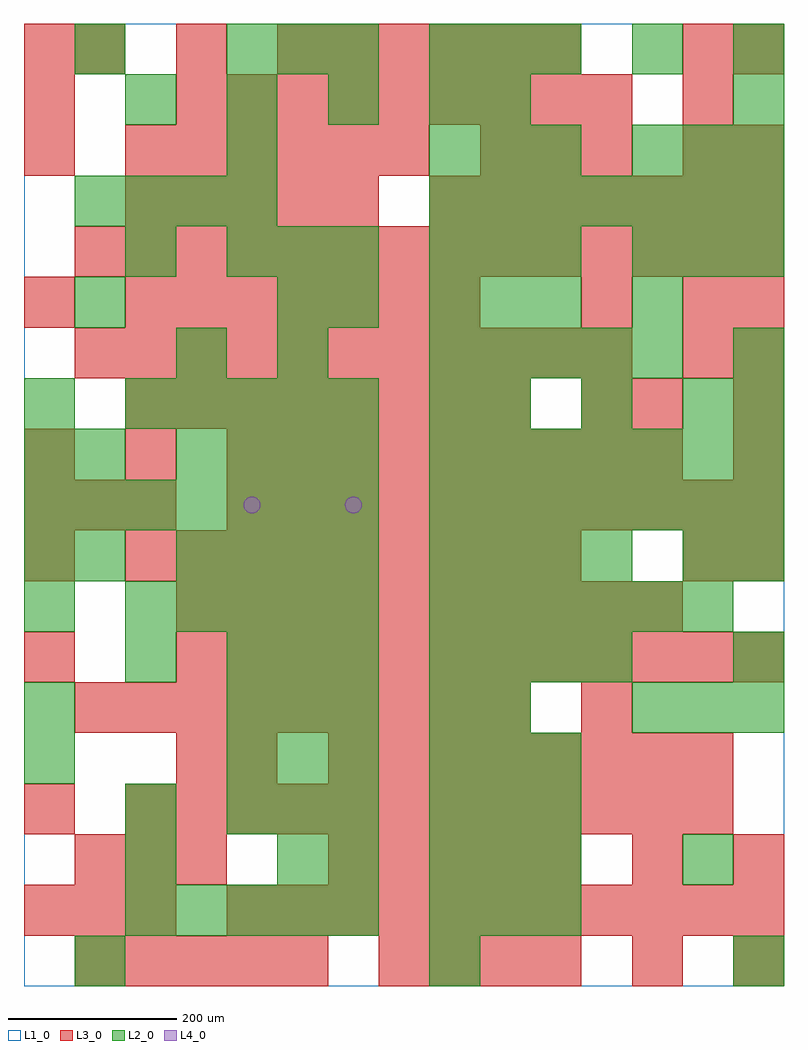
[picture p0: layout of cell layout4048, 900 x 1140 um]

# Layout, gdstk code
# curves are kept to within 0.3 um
import gdstk
lib = gdstk.Library(unit=1e-6, precision=1e-09)
def R(c, l, rs):  # rectangles x0, y0, x1, y1
    for r in rs: c.add(gdstk.rectangle(r[:2], r[2:], *l))
def A(c, l, x, y, w, h, nx, ny, dx, dy):  # array of equal rectangles
    R(c, l, [(x+i*dx, y+j*dy, x+i*dx+w, y+j*dy+h) for i in range(nx) for j in range(ny)])
def P(c, l, *ps):  # polygons
    for p in ps: c.add(gdstk.Polygon(p, *l))
L1_0 = (1, 0)
L2_0 = (2, 0)
L3_0 = (3, 0)
L4_0 = (4, 0)

layout4048 = lib.new_cell('layout4048')
R(layout4048, L1_0, [(0,0,900,1140)])
A(layout4048, L2_0, 120, 60, 60, 60, 5, 2, 60, 360)
A(layout4048, L2_0, 480, 60, 60, 60, 3, 4, 60, 60)
A(layout4048, L2_0, 240, 180, 60, 60, 3, 4, 60, 60)
A(layout4048, L2_0, 720, 300, 60, 60, 3, 2, 60, 540)
A(layout4048, L2_0, 480, 360, 60, 60, 4, 2, 60, 120)
A(layout4048, L2_0, 480, 420, 60, 60, 6, 1, 60, 0)
A(layout4048, L2_0, 180, 480, 60, 60, 4, 2, 60, 120)
A(layout4048, L2_0, 0, 540, 60, 60, 7, 1, 60, 0)
A(layout4048, L2_0, 480, 540, 60, 60, 7, 2, 60, 60)
A(layout4048, L2_0, 120, 660, 60, 60, 5, 1, 60, 0)
A(layout4048, L2_0, 540, 660, 60, 60, 3, 1, 120, 0)
A(layout4048, L2_0, 480, 720, 60, 60, 5, 1, 60, 0)
A(layout4048, L2_0, 480, 780, 60, 60, 3, 2, 60, 60)
A(layout4048, L2_0, 240, 840, 60, 60, 3, 2, 60, 240)
A(layout4048, L2_0, 60, 900, 60, 60, 4, 1, 60, 0)
A(layout4048, L2_0, 480, 900, 60, 60, 7, 1, 60, 0)
A(layout4048, L2_0, 480, 960, 60, 60, 3, 2, 60, 120)
A(layout4048, L2_0, 720, 960, 60, 60, 3, 1, 60, 0)
A(layout4048, L2_0, 120, 1020, 60, 60, 4, 1, 120, 0)
R(layout4048, L2_0, [(60,0,120,60), (480,0,540,60), (840,0,900,60), (120,120,180,180), (300,120,360,180), (360,120,420,180), (780,120,840,180), (120,180,180,240), (0,240,60,300), (0,300,60,360), (480,300,540,360), (540,300,600,360), (120,360,180,420), (840,360,900,420), (0,420,60,480), (0,480,60,540), (60,480,120,540), (780,480,840,540), (840,480,900,540), (0,600,60,660), (60,600,120,660), (0,660,60,720), (480,660,540,720), (840,660,900,720), (180,720,240,780), (300,720,360,780), (840,720,900,780), (60,780,120,840), (300,780,360,840), (360,780,420,840), (720,780,780,840), (120,840,180,900), (240,960,300,1020), (540,1020,600,1080), (840,1020,900,1080), (60,1080,120,1140), (720,1080,780,1140), (840,1080,900,1140)])
A(layout4048, L3_0, 60, 0, 60, 60, 5, 1, 60, 0)
A(layout4048, L3_0, 420, 0, 60, 60, 4, 1, 60, 0)
A(layout4048, L3_0, 0, 60, 60, 60, 3, 2, 60, 480)
A(layout4048, L3_0, 240, 60, 60, 60, 11, 2, 60, 480)
A(layout4048, L3_0, 60, 120, 60, 60, 3, 1, 60, 0)
A(layout4048, L3_0, 360, 120, 60, 60, 5, 2, 60, 960)
A(layout4048, L3_0, 120, 180, 60, 60, 12, 1, 60, 0)
A(layout4048, L3_0, 360, 240, 60, 60, 8, 1, 60, 0)
A(layout4048, L3_0, 60, 300, 60, 60, 9, 1, 60, 0)
A(layout4048, L3_0, 180, 360, 60, 60, 12, 1, 60, 0)
A(layout4048, L3_0, 180, 420, 60, 60, 10, 1, 60, 0)
A(layout4048, L3_0, 120, 480, 60, 60, 9, 1, 60, 0)
A(layout4048, L3_0, 0, 600, 60, 60, 3, 1, 120, 0)
A(layout4048, L3_0, 300, 600, 60, 60, 8, 1, 60, 0)
A(layout4048, L3_0, 840, 600, 60, 60, 1, 4, 0, 60)
A(layout4048, L3_0, 120, 660, 60, 60, 8, 1, 60, 0)
A(layout4048, L3_0, 60, 720, 60, 60, 11, 1, 60, 0)
A(layout4048, L3_0, 120, 780, 60, 60, 7, 1, 60, 0)
A(layout4048, L3_0, 60, 840, 60, 60, 14, 1, 60, 0)
A(layout4048, L3_0, 120, 900, 60, 60, 5, 1, 60, 0)
A(layout4048, L3_0, 480, 900, 60, 60, 7, 1, 60, 0)
A(layout4048, L3_0, 0, 960, 60, 60, 1, 3, 0, 60)
A(layout4048, L3_0, 120, 960, 60, 60, 6, 1, 60, 0)
A(layout4048, L3_0, 540, 960, 60, 60, 3, 1, 60, 0)
A(layout4048, L3_0, 780, 960, 60, 60, 1, 3, 0, 60)
A(layout4048, L3_0, 180, 1020, 60, 60, 9, 1, 60, 0)
A(layout4048, L3_0, 60, 1080, 60, 60, 3, 1, 120, 0)
R(layout4048, L3_0, [(720,0,780,60), (840,0,900,60), (720,120,780,180), (840,120,900,180), (0,180,60,240), (180,240,240,300), (240,240,300,300), (660,300,720,360), (0,360,60,420), (0,480,60,540), (780,480,840,540), (840,480,900,540), (660,660,720,720), (720,660,780,720), (780,720,840,780), (0,780,60,840), (660,780,720,840), (780,780,840,840), (840,960,900,1020), (840,1080,900,1140)])
P(layout4048, L4_0, [(280,570),(279.239,573.827),(277.071,577.071),(273.827,579.239),(270,580),(266.173,579.239),(262.929,577.071),(260.761,573.827),(260,570),(260.761,566.173),(262.929,562.929),(266.173,560.761),(270,560),(273.827,560.761),(277.071,562.929),(279.239,566.173)],
  [(400,570),(399.239,573.827),(397.071,577.071),(393.827,579.239),(390,580),(386.173,579.239),(382.929,577.071),(380.761,573.827),(380,570),(380.761,566.173),(382.929,562.929),(386.173,560.761),(390,560),(393.827,560.761),(397.071,562.929),(399.239,566.173)])

lib.write_gds('layout4048.gds')
